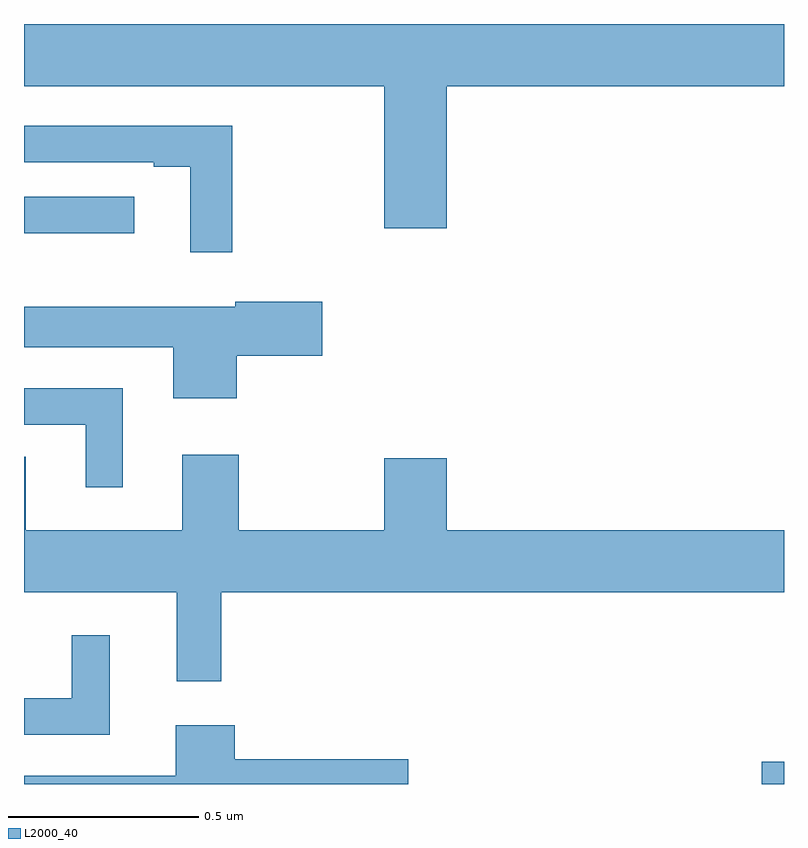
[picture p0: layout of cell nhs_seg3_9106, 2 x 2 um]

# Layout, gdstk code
import gdstk
lib = gdstk.Library(unit=1e-6, precision=1e-09)
def R(c, l, rs):  # rectangles x0, y0, x1, y1
    for r in rs: c.add(gdstk.rectangle(r[:2], r[2:], *l))
def P(c, l, *ps):  # polygons
    for p in ps: c.add(gdstk.Polygon(p, *l))
L2000_40 = (2000, 40)

nhs_seg3_9106 = lib.new_cell('nhs_seg3_9106')
R(nhs_seg3_9106, L2000_40, [(225.942,712.4,226,712.458), (224,713.849,224.29,713.946)])
P(nhs_seg3_9106, L2000_40, [(225.112,714.236),(226,714.236),(226,714.4),(224,714.4),(224,714.236),(224.948,714.236),(224.948,713.862),(225.112,713.862)],
  [(224.548,714.132),(224,714.132),(224,714.036),(224.342,714.036),(224.342,714.024),(224.438,714.024),(224.438,713.799),(224.548,713.799)],
  [(224.56,713.527),(224.785,713.527),(224.785,713.669),(224.556,713.669),(224.556,713.656),(224,713.656),(224,713.549),(224.393,713.549),(224.393,713.415),(224.56,713.415)],
  [(224.26,713.442),(224,713.442),(224,713.346),(224.162,713.346),(224.162,713.181),(224.26,713.181)],
  [(224.519,712.904),(226,712.904),(226,713.068),(225.112,713.068),(225.112,713.257),(224.948,713.257),(224.948,713.068),(224.565,713.068),(224.565,713.266),(224.417,713.266),(224.417,713.068),(224.005,713.068),(224.005,713.261),(224,713.261),(224,712.904),(224.402,712.904),(224.402,712.671),(224.519,712.671)],
  [(224.225,712.792),(224.126,712.792),(224.126,712.626),(224,712.626),(224,712.53),(224.225,712.53)],
  [(225.011,712.465),(224.555,712.465),(224.555,712.555),(224.399,712.555),(224.399,712.422),(224,712.422),(224,712.4),(225.011,712.4)])

lib.write_gds('nhs_seg3_9106.gds')
